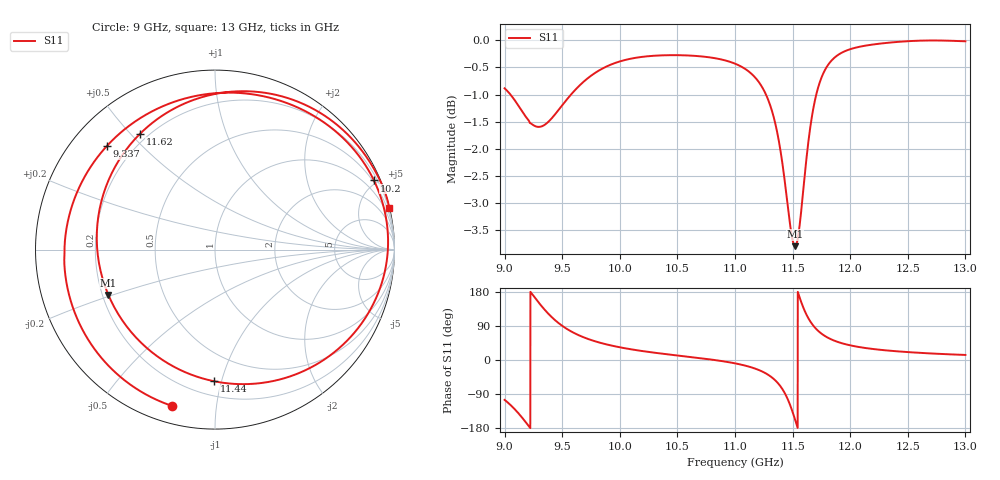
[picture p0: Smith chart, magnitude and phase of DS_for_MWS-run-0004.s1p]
! TOUCHSTONE file generated by CST DESIGN STUDIO
! Date and time: Tue Feb  4 12:52:45 2025
! Project name: C:\Work\MatlabApps\UnitCellOptimizationMatlab\CST\unitcell.cst
! Tree item: Tasks\Sweep1\SPara1\S-Parameters
! Header version: 2024
! Port assignment regex: !\s*Touchstone port\s*([0-9]+)\s*=\s*(CST MWS port|CST DES external port|CST DES block port)\s*(.+)\s* \(\"(.*)\"\)(\s*mode\s*([0-9]+))?.*
! Touchstone port assignment:
! Touchstone port 1 = CST DES external port 1 ("")
# GHz S MA R 50
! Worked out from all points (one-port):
!   4001 points, 9 GHz to 13 GHz, reference 50 ohm
!   lowest |S11| = -3.8 dB at 11.52 GHz (marker M1), VSWR 4.64, Z = 11.2 - j9.72 ohm
!   |S11| at or under -10 dB: nowhere
!   S11 on the Smith chart (normalised r, x): 9 GHz: 0.08, -0.76; 9.337 GHz: 0.10, +0.40; 10.2 GHz: 0.42, +4.77; 11.44 GHz: 0.30, -0.95; 11.62 GHz: 0.17, +0.53; 13 GHz: 0.07, +8.55
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9  0.9031 -105.2
9.093  0.8789 -131.5
9.191  0.8481 -167.0
9.26  0.8338 165.5
9.337  0.8343 136.4
9.413  0.8483 112.0
9.5  0.8711 90.2
9.603  0.8978 71.3
9.715  0.9215 56.6
10  0.9563 33.5
10.198  0.9658 23.5
10.5  0.9692 11.9
11  0.9518 -8.8
11.167  0.9261 -21.9
11.28  0.8856 -37.5
11.364  0.8246 -58.2
11.437  0.7339 -90.2
11.469  0.6877 -111.5
11.5  0.6536 -137.2
11.521  0.6454 -156.9
11.564  0.6788 162.3
11.615  0.7683 123.0
11.68  0.8654 90.6
11.776  0.9369 64.2
11.872  0.9657 49.8
12  0.9816 38.7
12.5  0.9984 20.9
13  0.9982 13.3
